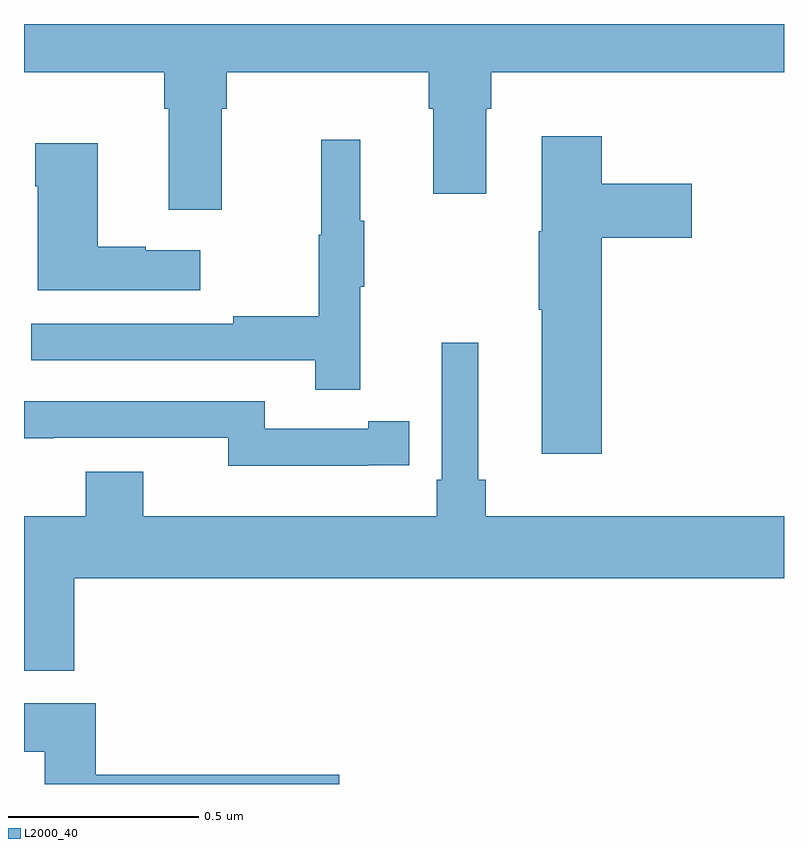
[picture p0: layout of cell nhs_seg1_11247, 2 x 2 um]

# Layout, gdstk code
import gdstk
lib = gdstk.Library(unit=1e-6, precision=1e-09)
def P(c, l, *ps):  # polygons
    for p in ps: c.add(gdstk.Polygon(p, *l))
L2000_40 = (2000, 40)

nhs_seg1_11247 = lib.new_cell('nhs_seg1_11247')
P(nhs_seg1_11247, L2000_40, [(251.521,544.976),(251.534,544.976),(251.534,545.072),(252.065,545.072),(252.065,544.976),(252.077,544.976),(252.077,544.752),(252.217,544.752),(252.217,544.976),(252.23,544.976),(252.23,545.072),(253,545.072),(253,545.199),(251,545.199),(251,545.072),(251.369,545.072),(251.369,544.976),(251.381,544.976),(251.381,544.71),(251.521,544.71)],
  [(252.521,544.637),(252.757,544.637),(252.757,544.779),(252.521,544.779),(252.521,544.903),(252.362,544.903),(252.362,544.653),(252.355,544.653),(252.355,544.447),(252.362,544.447),(252.362,544.068),(252.521,544.068)],
  [(251.885,544.507),(251.896,544.507),(251.896,544.681),(251.885,544.681),(251.885,544.894),(251.782,544.894),(251.782,544.644),(251.775,544.644),(251.775,544.43),(251.551,544.43),(251.551,544.41),(251.019,544.41),(251.019,544.314),(251.767,544.314),(251.767,544.236),(251.885,544.236)],
  [(251.464,544.603),(251.321,544.603),(251.321,544.613),(251.194,544.613),(251.194,544.885),(251.029,544.885),(251.029,544.772),(251.036,544.772),(251.036,544.499),(251.464,544.499)],
  [(251.132,543.74),(253,543.74),(253,543.904),(252.215,543.904),(252.215,544),(252.196,544),(252.196,544.36),(252.099,544.36),(252.099,544),(252.086,544),(252.086,543.904),(251.314,543.904),(251.314,544.021),(251.162,544.021),(251.162,543.904),(251,543.904),(251,543.497),(251.132,543.497)],
  [(251.906,544.038),(252.014,544.038),(252.014,544.154),(251.906,544.154),(251.906,544.134),(251.634,544.134),(251.634,544.206),(251,544.206),(251,544.109),(251.078,544.109),(251.078,544.11),(251.538,544.11),(251.538,544.037),(251.906,544.037)],
  [(251.83,543.224),(251.189,543.224),(251.189,543.412),(251,543.412),(251,543.284),(251.054,543.284),(251.054,543.199),(251.83,543.199)])

lib.write_gds('nhs_seg1_11247.gds')
